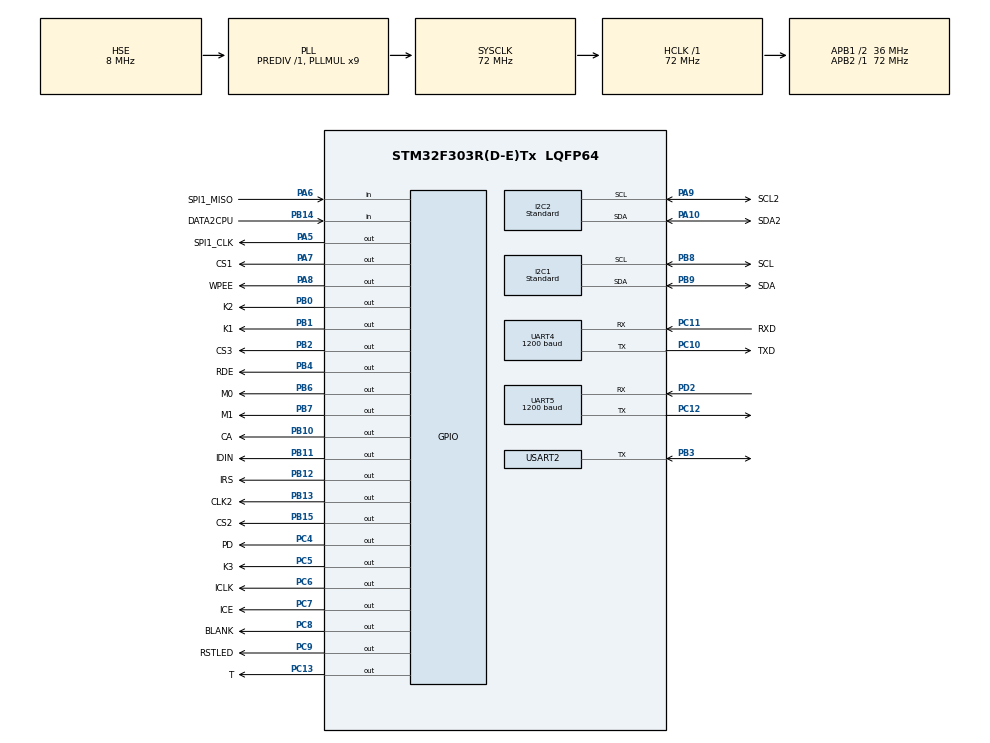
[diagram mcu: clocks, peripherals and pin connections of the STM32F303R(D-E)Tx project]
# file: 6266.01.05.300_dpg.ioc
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I2C1.Analog_Filter=I2C_ANALOGFILTER_ENABLE
I2C1.I2C_Fall_Time=15
I2C1.I2C_Rise_Time=15
I2C1.I2C_Speed_Mode=I2C_Standard
I2C1.Speed=100
I2C1.Timing=0x00201D2C
I2C2.Analog_Filter=I2C_ANALOGFILTER_DISABLE
I2C2.I2C_Coeff_DF=0
I2C2.I2C_Fall_Time=0
I2C2.I2C_Rise_Time=0
I2C2.I2C_Speed_Mode=I2C_Standard
I2C2.Speed=100
I2C2.Timing=0x00101D2D
IWDG.Prescaler=IWDG_PRESCALER_256
Mcu.Family=STM32F3
Mcu.Name=STM32F303R(D-E)Tx
Mcu.Package=LQFP64
NVIC.PriorityGroup=NVIC_PRIORITYGROUP_3
NVIC.TIM1_BRK_TIM15_IRQn=true\:0\:0\:false\:false\:true\:true\:true\:true
NVIC.TIM1_CC_IRQn=true\:0\:0\:false\:false\:true\:true\:true\:true
NVIC.TIM1_TRG_COM_TIM17_IRQn=true\:0\:0\:false\:false\:true\:true\:true\:true
NVIC.TIM1_UP_TIM16_IRQn=true\:0\:0\:false\:false\:true\:true\:true\:true
NVIC.TIM8_UP_IRQn=true\:0\:0\:false\:false\:true\:true\:true\:true
NVIC.UART4_IRQn=true\:1\:1\:true\:false\:true\:true\:true\:true
NVIC.UART5_IRQn=true\:0\:0\:false\:false\:true\:true\:true\:true
NVIC.USART2_IRQn=true\:0\:0\:false\:false\:true\:true\:true\:true
PA10.GPIO_Label=SDA2
PA10.GPIO_Pu=GPIO_PULLUP
PA10.Mode=I2C
PA10.Signal=I2C2_SDA
PA13.GPIO_Label=SWDIO
PA13.Mode=Serial_Wire
PA13.Signal=SYS_JTMS-SWDIO
PA14.GPIO_Label=SWCLK
PA14.Mode=Serial_Wire
PA14.Signal=SYS_JTCK-SWCLK
PA5.GPIO_Label=SPI1_CLK
PA5.PinState=GPIO_PIN_SET
PA5.Signal=GPIO_Output
PA6.GPIO_Label=SPI1_MISO
PA6.GPIO_PuPd=GPIO_PULLUP
PA6.Signal=GPIO_Input
PA7.GPIO_Label=CS1
PA7.PinState=GPIO_PIN_SET
PA7.Signal=GPIO_Output
PA8.GPIO_Label=WPEE
PA8.PinState=GPIO_PIN_RESET
PA8.Signal=GPIO_Output
PA9.GPIO_Label=SCL2
PA9.GPIO_Pu=GPIO_PULLUP
PA9.Mode=I2C
PA9.Signal=I2C2_SCL
PB0.GPIO_Label=K2
PB0.Signal=GPIO_Output
PB1.GPIO_Label=K1
PB1.Signal=GPIO_Output
PB10.GPIO_Label=CA
PB10.Signal=GPIO_Output
PB11.GPIO_Label=IDIN
PB11.Signal=GPIO_Output
PB12.GPIO_Label=IRS
PB12.PinState=GPIO_PIN_SET
PB12.Signal=GPIO_Output
PB13.GPIO_Label=CLK2
PB13.Signal=GPIO_Output
PB14.GPIO_Label=DATA2CPU
PB14.Signal=GPIO_Input
PB15.GPIO_Label=CS2
PB15.PinState=GPIO_PIN_SET
PB15.Signal=GPIO_Output
PB2.GPIO_Label=CS3
PB2.PinState=GPIO_PIN_SET
PB2.Signal=GPIO_Output
PB3.Mode=Half_duplex(single_wire_mode)
PB3.Signal=USART2_TX
PB4.GPIO_Label=RDE
PB4.Signal=GPIO_Output
PB6.GPIO_Label=M0
PB6.PinState=GPIO_PIN_SET
PB6.Signal=GPIO_Output
PB7.GPIO_Label=M1
PB7.Signal=GPIO_Output
PB8.GPIO_Label=SCL
PB8.GPIO_Pu=GPIO_PULLUP
PB8.Mode=I2C
PB8.Signal=I2C1_SCL
PB9.GPIO_Label=SDA
PB9.GPIO_Pu=GPIO_PULLUP
PB9.Mode=I2C
PB9.Signal=I2C1_SDA
PC10.GPIO_Label=TXD
PC10.Mode=Asynchronous
PC10.Signal=UART4_TX
PC11.GPIO_Label=RXD
PC11.Mode=Asynchronous
PC11.Signal=UART4_RX
PC12.Mode=Asynchronous
PC12.Signal=UART5_TX
PC13.GPIO_Label=T
PC13.Signal=GPIO_Output
PC4.GPIO_Label=PD
PC4.Signal=GPIO_Output
PC5.GPIO_Label=K3
PC5.Signal=GPIO_Output
PC6.GPIO_Label=ICLK
PC6.PinState=GPIO_PIN_SET
PC6.Signal=GPIO_Output
PC7.GPIO_Label=ICE
PC7.PinState=GPIO_PIN_SET
PC7.Signal=GPIO_Output
PC8.GPIO_Label=BLANK
PC8.Signal=GPIO_Output
PC9.GPIO_Label=RSTLED
PC9.Signal=GPIO_Output
PD2.Mode=Asynchronous
PD2.Signal=UART5_RX
PF0-OSC_IN.Mode=HSE-External-Oscillator
PF0-OSC_IN.Signal=RCC_OSC_IN
PF1-OSC_OUT.Mode=HSE-External-Oscillator
PF1-OSC_OUT.Signal=RCC_OSC_OUT
ProjectManager.HeapSize=0x2000
ProjectManager.StackSize=0x8000
ProjectManager.TargetToolchain=EWARM V8
RCC.AHBFreq_Value=72000000
RCC.APB1CLKDivider=RCC_HCLK_DIV2
RCC.APB1Freq_Value=36000000
RCC.APB1TimFreq_Value=72000000
RCC.APB2Freq_Value=72000000
RCC.APB2TimFreq_Value=72000000
RCC.CortexFreq_Value=72000000
RCC.HCLKFreq_Value=72000000
RCC.HSE_VALUE=8000000
RCC.HSI_VALUE=8000000
RCC.LSE_VALUE=32768
RCC.PLLMUL=RCC_PLL_MUL9
RCC.PLLSourceVirtual=RCC_PLLSOURCE_HSE
RCC.SYSCLKFreq_VALUE=72000000
RCC.SYSCLKSourceVirtual=RCC_SYSCLKSOURCE_PLLCLK
RCC.USBFreq_Value=72000000
TIM1.AutoReloadPreload=TIM_AUTORELOAD_PRELOAD_DISABLE
TIM1.Channel-Output\ Compare1\ No\ Output=TIM_CHANNEL_1
TIM1.Channel-PWM\ Generation2\ No\ Output=TIM_CHANNEL_2
TIM1.OC1Preload=DISABLE
TIM1.OC2Preload_PWM=DISABLE
TIM1.Period=1999
TIM1.Prescaler=35
TIM1.Pulse-Output\ Compare1\ No\ Output=0
TIM1.Pulse-PWM\ Generation2\ No\ Output=1000
TIM15.Period=9999
TIM15.Prescaler=7199
TIM15.RepetitionCounter=60
TIM8.CounterMode=TIM_COUNTERMODE_DOWN
TIM8.Period=9999
TIM8.Prescaler=7199
TIM8.RepetitionCounter=60
UART4.BaudRate=1200
UART5.BaudRate=1200
USART2.BaudRate=115200
USART2.VirtualMode-Half_duplex(single_wire_mode)=VM_ASYNC
VP_IWDG_VS_IWDG.Mode=IWDG_Activate
VP_TIM15_VS_ClockSourceINT.Mode=Internal
VP_TIM1_VS_ClockSourceINT.Mode=Internal
VP_TIM1_VS_no_output1.Mode=Output Compare1 No Output
VP_TIM1_VS_no_output2.Mode=PWM Generation2 No Output
VP_TIM8_VS_ClockSourceINT.Mode=Internal
board=custom

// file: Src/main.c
/* USER CODE BEGIN Header */
/**
  ******************************************************************************
  * @file           : main.c
  * @brief          : Main program body
  ******************************************************************************
  * @attention
  *
  * <h2><center>&copy; Copyright (c) 2020 STMicroelectronics.
  * All rights reserved.</center></h2>
  *
  * This software component is licensed by ST under BSD 3-Clause license,
  * the "License"; You may not use this file except in compliance with the
  * License. You may obtain a copy of the License at:
  *                        opensource.org/licenses/BSD-3-Clause
  *
  ******************************************************************************
  */
/* USER CODE END Header */
#include "main.h"
#include "i2c.h"
#include "iwdg.h"
#include "tim.h"
#include "usart.h"
#include "gpio.h"

/* USER CODE BEGIN Includes */
#include <vector>
#include <algorithm>
#include "push_pop.h"
#include "detector_weather.h"
#include "hcms.h"
#include "eeprom.h"
#include "lib.h"
#include "algorithm_contamination.h"
#include "approximation.h"
#include <iostream>
#include <stdio.h>
#include <fstream>
#include <numeric>
#include <stdio.h>
#include <math.h>
#include "OneWire.h"
#include "intrinsics.h"

/* USER CODE END Includes */

/* USER CODE BEGIN PD */
//#define MAX_PROC_COUNT   ((uint16_t)(52UL*240UL))
#define MAX_PROC_COUNT   ((uint16_t)(53UL*240UL))

//#define COUNT_MEASURES   (5280UL)

/* USER CODE END PD */

/* USER CODE BEGIN PV */
//static bool sEE_activated = false;

HAL_StatusTypeDef hstd;

uint8_t flag_profile = 0;
uint8_t             flag_out   = 0;
int help=0;

//static int16_t temperature;

struct proc_cntr___
{
  uint8_t proc_count_low;
  uint8_t proc_count_high;
};

struct proc_cntr___ p_cntr     = { (MAX_PROC_COUNT + 1) % 240, (MAX_PROC_COUNT + 1) / 240 };

uint64_t            xxxxPS0    = 0ULL,
xxxxPSFull = 0ULL;
uint32_t xxxxPS0msrs = 0ULL;
uint32_t xxxxPSFullmsrs = 0ULL;

volatile uint8_t    spi_cnt    = 11;
uint16_t   xcoeff     = 1;

volatile bool       dataready  = false;
volatile bool       light_on   = false;

volatile uint32_t   time__;
bool flag_console=0;
int16_t profile[COUNT_MEASURES];
uint64_t average_ps=0;
bool flag_temperature_error=0;

//#define DEBUG_TIMING
#ifndef DEBUG_TIMING
volatile bool       timeflag   = false;
#else
volatile bool       timeflag   = true;
#endif

bool aging_LED=0;
bool flag_Kp=0;

bool flag_t_eco=0;

bool flag_mor_eco=0;
bool flag_energy =0;

bool start_devise=0;

int n=50;

int speed=1200;
int word_length=8;
double   PS0x = 0.0;
uint32_t PL0x = 0, PG0x = 0;    //

uint8_t index_phenocode = 0x0;
uint8_t tim_for_ca = 300;

//extern float Temp[MAXDEVICES_ON_THE_BUS];

/* USER CODE END PV */

void SystemClock_Config(void);

/* USER CODE BEGIN 0 */

union rslt_                                                                 //SPI_STC_vect
{                                                                           //SPI_STC_vect
  uint8_t bts[4];                                                                //SPI_STC_vect
  uint32_t w;                                                                    //SPI_STC_vect
}
static rslt_un;                                                               //SPI_STC_vect

uint8_t rslt_bt;

uint32_t get_time(void)
{
  return time__;
}

void HAL_SPI_RxCpltCallback(/*SPI_HandleTypeDef*/void *hspi)
{
//  if (&hspi2 == hspi)
//  {
//    __no_operation();
//  }
  if (NULL == hspi)
  {
//    rcnt++;
//    if ( rcnt < 40 )
//    {
//      rbts[ rcnt ] = rslt_bt;
//      HAL_SPI_Receive_IT( &hspi1, &rslt_bt, 1 );
//    }
//    else
//      return;
    uint8_t i=0;
  start_case:
    switch (spi_cnt)
    {
//      case 0:
      /*CS2 = 0;*/
//        HAL_GPIO_WritePin( CS2_GPIO_Port, CS2_Pin, GPIO_PIN_RESET );                 // for PG0 & PGFull
      /*SPDR = 0;*/
//        HAL_SPI_Receive_IT( &hspi2, &rslt_bt, 1 );
//        rslt_un.w = 0UL;
//        break;
//      case 1:
//      case 4:
    case 8:
      rslt_un.bts[2] = rslt_bt;
      {
        rslt_bt = 0;
        for (uint8_t mask = 0x80; mask != 0; mask >>= 1)
        {
          HAL_GPIO_WritePin(SPI1_CLK_GPIO_Port, SPI1_CLK_Pin, GPIO_PIN_RESET);
             __no_operation();
            __no_operation();
            __no_operation();
            __no_operation();
            __no_operation();
            __no_operation();

          if (HAL_GPIO_ReadPin(SPI1_MISO_GPIO_Port, SPI1_MISO_Pin) == GPIO_PIN_SET)
          {
            rslt_bt |= mask;
          }
          HAL_GPIO_WritePin(SPI1_CLK_GPIO_Port, SPI1_CLK_Pin, GPIO_PIN_SET);
              __no_operation();
            __no_operation();
            __no_operation();
            __no_operation();
            __no_operation();
            __no_operation();
        }
        spi_cnt = 9;
        goto start_case;
      }
      /*SPDR = 0;*/
      //HAL_SPI_Receive_IT( &hspi1, &rslt_bt, 1 );   //for bts[1]
//        HAL_SPI_TransmitReceive_IT( &hspi1, ( uint8_t * )&zro_bt, &rslt_bt, 1 );
      break;
//      case 2:
//      case 5:
    case 9:
      rslt_un.bts[1] = rslt_bt;
      /*SPDR = 0;*/
      {
        rslt_bt = 0;
        for (uint8_t mask = 0x80; mask != 0; mask >>= 1)
        {
          HAL_GPIO_WritePin(SPI1_CLK_GPIO_Port, SPI1_CLK_Pin, GPIO_PIN_RESET);
              __no_operation();
            __no_operation();
            __no_operation();
            __no_operation();
            __no_operation();
            __no_operation();
          if (HAL_GPIO_ReadPin(SPI1_MISO_GPIO_Port, SPI1_MISO_Pin) == GPIO_PIN_SET)
          {
            rslt_bt |= mask;
          }
          HAL_GPIO_WritePin(SPI1_CLK_GPIO_Port, SPI1_CLK_Pin, GPIO_PIN_SET);
             __no_operation();
            __no_operation();
            __no_operation();
            __no_operation();
            __no_operation();
            __no_operation();
        }
        spi_cnt = 10;
        goto start_case;
      }
      //HAL_SPI_Receive_IT( &hspi1, &rslt_bt, 1 ); // for bts[0]
//        HAL_SPI_TransmitReceive_IT( &hspi1, ( uint8_t * )&zro_bt, &rslt_bt, 1 );
      break;
//      case 3:
      /*CS2 = 1;*/
//        HAL_GPIO_WritePin( CS2_GPIO_Port, CS2_Pin, GPIO_PIN_SET );                 // for PG0 & PGFull
      /*CS3 = 0;*/                         //for PL0   & PLFull
//        HAL_GPIO_WritePin( CS3_GPIO_Port, CS3_Pin, GPIO_PIN_RESET );                 // for PG0 & PGFull
//        rslt_un.bts[ 0 ] = rslt_bt & 0xf0;
      /*SPDR = 0;*/
//        HAL_SPI_Receive_IT( &hspi2, &rslt_bt, 1 );
//        if ( p_cntr.proc_count_high == 0 )
//          PG0__ += rslt_un.w;
//        else
//          PGFull += rslt_un.w;
//        rslt_un.w = 0UL;
//        break;
//      case 6:
      /*CS3 = 1;*/
//        HAL_GPIO_WritePin( CS3_GPIO_Port, CS3_Pin, GPIO_PIN_SET );                 // for PG0 & PGFull
//        rslt_un.bts[ 0 ] = rslt_bt & 0xf0;
//        if ( p_cntr.proc_count_high == 0 )
//          PL0__ += rslt_un.w;
//        else
//          PLFull += rslt_un.w;
//        rslt_un.w = 0UL;
//        break;
    case 7:
 //     HAL_GPIO_WritePin(SPI1_CLK_GPIO_Port, SPI1_CLK_Pin, GPIO_PIN_RESET);

       HAL_GPIO_WritePin(CS1_GPIO_Port, CS1_Pin, GPIO_PIN_RESET);
           __no_operation();
            __no_operation();
            __no_operation();
            __no_operation();
            __no_operation();
            __no_operation();
       rslt_un.w = 0;
       for (uint32_t mask = 0x80000; mask != 0; mask >>= 1)
       {
         HAL_GPIO_WritePin(SPI1_CLK_GPIO_Port, SPI1_CLK_Pin, GPIO_PIN_SET);
         for(i=0;i<1;i++) __no_operation();
         if (HAL_GPIO_ReadPin(SPI1_MISO_GPIO_Port, SPI1_MISO_Pin) == GPIO_PIN_SET)
         {
            rslt_un.w |= mask;
         }
        // for(i=0;i<1;i++) __no_operation();
         HAL_GPIO_WritePin(SPI1_CLK_GPIO_Port, SPI1_CLK_Pin, GPIO_PIN_RESET);
             __no_operation();
            __no_operation();
            __no_operation();
            __no_operation();
            __no_operation();
            __no_operation();
       }
       HAL_GPIO_WritePin(SPI1_CLK_GPIO_Port, SPI1_CLK_Pin, GPIO_PIN_SET);
       spi_cnt = 10;

      goto start_case;
      break;
    /*  HAL_GPIO_WritePin(CS1_GPIO_Port, CS1_Pin, GPIO_PIN_RESET);
      {
        rslt_un.w = 0;
        for (uint32_t mask = 0x800000; mask != 0; mask >>= 1)
        {
          __no_operation();
          HAL_GPIO_WritePin(SPI1_CLK_GPIO_Port, SPI1_CLK_Pin, GPIO_PIN_RESET);
          if (HAL_GPIO_ReadPin(SPI1_MISO_GPIO_Port, SPI1_MISO_Pin) == GPIO_PIN_SET)
          {
            rslt_un.w |= mask;
          }
          HAL_GPIO_WritePin(SPI1_CLK_GPIO_Port, SPI1_CLK_Pin, GPIO_PIN_SET);
          __no_operation();
        }
HAL_GPIO_WritePin(CS1_GPIO_Port, CS1_Pin, GPIO_PIN_SET);
        spi_cnt = 10;
      }
      goto start_case;
      break;*/
    case 10:
      {
        /*CS1 = 1;*/
        HAL_GPIO_WritePin(CS1_GPIO_Port, CS1_Pin, GPIO_PIN_SET);
      //  rslt_un.bts[0] = rslt_bt; //& 0xf0; // low four bits of third byte ADC ignored

         if(p_cntr.proc_count_high<=45)  // ((p_cntr.proc_count_high != 0)&& xxxxPSFullmsrs<10320)
        {
           xxxxPSFull += ((rslt_un.w ));//(rslt_un.w); ((rslt_un.w & 0xffff0ul) >> 4);
         // xxxxPSFull += (uint64_t)((rslt_un.w & 0xffff0ul) >> 4);
           xxxxPSFullmsrs++;

        }

        if ( (p_cntr.proc_count_high >= 8) &&
            (p_cntr.proc_count_high <= 45)
            // &&(xxxxPSFullmsrs < 9120)
              )
        {
           profile[(p_cntr.proc_count_high - 8) * 240 + p_cntr.proc_count_low] = ((rslt_un.w ));//((rslt_un.w )); //(uint16_t)(((rslt_un.w & 0xfffffff0))> 65534)? (65534):((rslt_un.w & 0xfffffff0));  /* */
        }
         if (p_cntr.proc_count_high >= 47)
        {

         xxxxPS0 += ((rslt_un.w ));// rslt_un.w;
        xxxxPS0msrs++;

          break;
        }
        else spi_cnt = 11;
        break;
      }
    case 11:
      return;
    }
    spi_cnt++;

  }
}
bool tim8_off=0;
bool calibration_low=0;
bool calibration_hight=0;
bool calibration_successful=0;

volatile uint32_t ccr2 = 0; //3000;
uint8_t c_t_8=0;
uint8_t c_t_15=0;
uint16_t c_t_24=0;

void stop_tim()
{
   huart4.RxXferCount = 256;
   huart5.RxXferCount = 256;
   c_t_15=0;
   if(!defrosting)
   {
     HAL_TIM_Base_Stop_IT(&htim15);
     c_t_24=0;
   }
   flag_console=0;
   HAL_UART_AbortReceive(&huart4);
   HAL_UART_AbortReceive(&huart5);
 // HAL_GPIO_WritePin(M0_GPIO_Port, M0_Pin, GPIO_PIN_SET);/*M0=0;*/
 // HAL_GPIO_WritePin(M1_GPIO_Port, M1_Pin, GPIO_PIN_RESET); /*M1=1;*/
 // HAL_GPIO_WritePin(RDE_GPIO_Port, RDE_Pin, GPIO_PIN_SET);
}

void HAL_TIM_PeriodElapsedCallback(TIM_HandleTypeDef *htim)
{
  if (htim == &htim8)
  {
 if (c_t_8>=13 && flag_out == 1) /**/
   /* if ((c_t_8>=5 && flag_profile == 1) || (c_t_8>=13 && flag_out == 1))*/
     {
        flag_out = 0;
        c_t_8=0;
        tim8_off=0;
        HAL_TIM_Base_Stop_IT(&htim8);
 //       NVIC_SystemReset();
     }
    /* if(c_t_8>=14)
     {
       if(calibration_hight==1 || calibration_low==1 )
       {
         c_t_8=0;
         tim8_off=0;
         HAL_TIM_Base_Stop_IT(&htim8);

         calibration_successful=calibration_hight = calibration_low = 0;
       }
     }*/
  else c_t_8++;
  }
   if (htim == &htim15)
  {
     if(flag_console)
     {
       if(c_t_15 >= 15 )
         stop_tim();
       else c_t_15++;
     }
     if (flag_heating && defrosting)
     {
        if(c_t_24>=1440)
        {
          c_t_24=0;
          stop_defrosting(flag_console);
        }
        else c_t_24++;
     }
  }

if (htim == &htim1)
  {
//    perel_cntr++;
    if (light_on)
    {
      /*CA = 0;*/     //light on -> 0 // above zones0 & 1
      HAL_GPIO_WritePin(CA_GPIO_Port, CA_Pin, GPIO_PIN_RESET);
    }
    static uint16_t x_proc_count;
    x_proc_count = ((((uint16_t)p_cntr.proc_count_high) * 240) + ((uint16_t)p_cntr.proc_count_low));
    if (
//      proc_count<MAX_PROC_COUNT
//     (p_cntr.proc_count_high < (MAX_PROC_COUNT/240))||
//     (p_cntr.proc_count_low < (MAX_PROC_COUNT % 240))
//(((( uint16_t )p_cntr.proc_count_high) * 240) + (( uint16_t )p_cntr.proc_count_low)) < MAX_PROC_COUNT
        x_proc_count < 12720 //12960 //13200 //// 13680 //13920// 12720
       )
    {

      ccr2 = htim1.Instance->CCR2 = 300;// tim_for_ca;
      HAL_TIM_PWM_Start_IT(&htim1, TIM_CHANNEL_2);

      switch (p_cntr.proc_count_high)
      {
      case 0x2:
      case 0x3:

//      k_img=4;// x4     k3=1 k2=0 k1=0

       HAL_GPIO_WritePin(K3_GPIO_Port, K3_Pin, GPIO_PIN_SET);

       HAL_GPIO_WritePin(K2_GPIO_Port, K2_Pin, GPIO_PIN_RESET);

       HAL_GPIO_WritePin(K1_GPIO_Port, K1_Pin, GPIO_PIN_RESET);
       xcoeff = 4;
        break;
      case 0x4:
      case 0x5:
//      k_img=5;// x40    k3=1 k2=0 k1=1

      HAL_GPIO_WritePin(K3_GPIO_Port, K3_Pin, GPIO_PIN_SET);

         HAL_GPIO_WritePin(K2_GPIO_Port, K2_Pin, GPIO_PIN_RESET);

         HAL_GPIO_WritePin(K1_GPIO_Port, K1_Pin, GPIO_PIN_SET);
         xcoeff = 40;
        break;
      case 0x6:
      case 0x7:
//      k_img=6;// x400   k3=1 k2=1 k1=0

        HAL_GPIO_WritePin(K3_GPIO_Port, K3_Pin, GPIO_PIN_SET);

        HAL_GPIO_WritePin(K2_GPIO_Port, K2_Pin, GPIO_PIN_SET);

        HAL_GPIO_WritePin(K1_GPIO_Port, K1_Pin, GPIO_PIN_RESET);
        xcoeff = 400;
        break;
      }
    }
    time__++;
    static uint32_t ytime;
    ytime = time__ % sending_period;
    if (ytime == 0x0)
    {
      __no_operation();

        timeflag = true;

    }
//
//  if (
//     (dataready==false)&&
//     (timeflag==false)&&
////     (proc_count==(MAX_PROC_COUNT+1))&&
//     (
//     (p_cntr.proc_count_high==((MAX_PROC_COUNT+1)/240))&&
//     (p_cntr.proc_count_low==((MAX_PROC_COUNT+1) % 240))
//     )&&
//     (obf.obd.bs.curr_state==OBUF_STATE_FREE)
//     )
//    timeflag=true;
#define OCF1A__ TIFR_Bit4
    ////
    ////*TIFR_*/OCF1A__ = 1; //preventive clear interrupt flag on
    ///ocr1a compare
  }
}

//#define TEN_PERCENT_LIMIT (((65536UL/10UL)*240UL)<<4)
#define TEN_PERCENT_LIMIT (65536ul/10ul)

//int c1600cntr=0,c300ex1600=0;
#ifdef DWTTM
struct dwttm__
{
  uint32_t cycnt;
  uint32_t evnt;
}evnts[64];
int evidx = 0;
#endif

void HAL_TIM_PWM_PulseFinishedCallback(TIM_HandleTypeDef *htim)
{
  if (htim == &htim1)
  {
    /*switch ( OCR1B )*/
    switch (/*htim1.Instance->CCR2*/ccr2)
    {
    case 300: //150 us
      if (
          (p_cntr.proc_count_high < 2) &&
          (p_cntr.proc_count_low < 240)
         )
      {
        //  spi_cnt = 0;
//      SPDR=0;    // start SPI_SEQUENCE from pos0 to pos6
        rslt_un.w = 0;
        //uint32_t w;
        //uint8_t  i;
        /*CLK2 = CS1 = CS2 = CS3 = 1;*/
//          HAL_GPIO_WritePin( CLK2_GPIO_Port, CLK2_Pin, GPIO_PIN_SET );
        HAL_GPIO_WritePin(CS1_GPIO_Port, CS1_Pin, GPIO_PIN_SET);
        HAL_GPIO_WritePin(CS2_GPIO_Port, CS2_Pin, GPIO_PIN_SET);
        HAL_GPIO_WritePin(CS3_GPIO_Port, CS3_Pin, GPIO_PIN_SET);
        //w = 0ul;
        //__delay_cycles( 6 );
        __no_operation();
        __no_operation();
        __no_operation();
        __no_operation();
        __no_operation();
        __no_operation();
        /*CS2 = 0;*/
        HAL_GPIO_WritePin(CS2_GPIO_Port, CS2_Pin, GPIO_PIN_RESET);
        for (int i = 0; i < 24; i++)
        {
          rslt_un.w <<= 1;
          /*if ( DATA2 != 0 )*/
          if (HAL_GPIO_ReadPin(DATA2CPU_GPIO_Port, DATA2CPU_Pin) != GPIO_PIN_RESET)
          {
            rslt_un.w |= 1ul;        //------------------------------------
          }
          /*CLK2 = 0;*/
          HAL_GPIO_WritePin(CLK2_GPIO_Port, CLK2_Pin, GPIO_PIN_RESET);
        __no_operation();
        __no_operation();
        __no_operation();
        __no_operation();
        __no_operation();
        __no_operation();
//          __delay_cycles(6);
          /*CLK2 = 1;*/
          HAL_GPIO_WritePin(CLK2_GPIO_Port, CLK2_Pin, GPIO_PIN_SET);
        }
        /*CS2 = 1;*/
//        HAL_SPI_Receive(&hspi2, rslt_un.bts, 3, 1)
        HAL_GPIO_WritePin(CS2_GPIO_Port, CS2_Pin, GPIO_PIN_SET);
//        rslt_bt = rslt_un.bts[0];
//        rslt_un.bts[0] = rslt_un.bts[2];
//        rslt_un.bts[2] = rslt_bt;
        if (p_cntr.proc_count_high == 0)
          pprs.PG0 += (rslt_un.w & 0xffff0) >> 4;
        else
          pprs.PGFull += (rslt_un.w & 0xffff0) >> 4;
        rslt_un.w = 0ul;
        //__delay_cycles( 6 );
        __no_operation();
        __no_operation();
        __no_operation();
        __no_operation();
        __no_operation();
        __no_operation();
        /*CS3 = 0;*/
        rslt_un.w = 0;
        HAL_GPIO_WritePin(CS3_GPIO_Port, CS3_Pin, GPIO_PIN_RESET);
        //HAL_SPI_Receive(&hspi2, rslt_un.bts, 3, 1);
//        HAL_GPIO_WritePin(CS2_GPIO_Port, CS3_Pin, GPIO_PIN_SET);
//        rslt_bt = rslt_un.bts[0];
//        rslt_un.bts[0] = rslt_un.bts[2];
//        rslt_un.bts[2] = rslt_bt;
        for (int i = 0; i < 24; i++)
        {
          rslt_un.w <<= 1;
          /*if ( DATA2 != 0 )*/
          if (HAL_GPIO_ReadPin(DATA2CPU_GPIO_Port, DATA2CPU_Pin) != GPIO_PIN_RESET)
          {
            rslt_un.w |= 1ul;        //--------------------------------------------
          }
          /*CLK2 = 0;*/
          HAL_GPIO_WritePin(CLK2_GPIO_Port, CLK2_Pin, GPIO_PIN_RESET);
        __no_operation();
        __no_operation();
        __no_operation();
        __no_operation();
        __no_operation();
        __no_operation();
//          __delay_cycles(6);
          /*CLK2 = 1;*/
          HAL_GPIO_WritePin(CLK2_GPIO_Port, CLK2_Pin, GPIO_PIN_SET);
        }
        /*CS3 = 1;*/
        HAL_GPIO_WritePin(CS3_GPIO_Port, CS3_Pin, GPIO_PIN_SET);
        if (p_cntr.proc_count_high == 0)
        {
          pprs.PL0 += (rslt_un.w & 0xffff0) >> 4;
          ccr2 = htim1.Instance->CCR2 = 1400;
        }
        else
        {
          pprs.PLFull += (rslt_un.w & 0xffff0) >> 4;
        /*OCR1B = 1600;*/ //for advance proc_count
        ccr2 = htim1.Instance->CCR2 = 1600;
        }

        __no_operation();
        break;

      }
      /*OCR1B = 600;*/
      ccr2 = htim1.Instance->CCR2 = 600;
      __no_operation();
      break;
    case  600: //300 uS
      //PD = 1; // PD_ON
      HAL_GPIO_WritePin(PD_GPIO_Port, PD_Pin, GPIO_PIN_SET);
      /*OCR1B = 1000;*/ //next event on 0,5ms
      ccr2 = htim1.Instance->CCR2 = 1000;
      __no_operation();
      break;
    case 1000: //500 uS
               //CA = 1;                 //laser off
     HAL_GPIO_WritePin(CA_GPIO_Port, CA_Pin, GPIO_PIN_SET);
      /*OCR1B = 1400;*/
      ccr2 = htim1.Instance->CCR2 = 1400;
      __no_operation();
      break;
    case 1400: //700 uS
      if (
          ((p_cntr.proc_count_high == 0) ||
           (p_cntr.proc_count_high == 3) ||
           (p_cntr.proc_count_high == 5) ||
           (
            (p_cntr.proc_count_high >= 7) &&
            (p_cntr.proc_count_high <= 53)
           )
          ) &&
          (p_cntr.proc_count_low < 240)
         )
      {
        spi_cnt = 7;
        //<><><><><><>SPDR = 0;    // start SPI_SEQUENCE from pos7 to pos10
        {
          rslt_bt = 0;
//          for (uint8_t mask = 0x80; mask != 0; mask >>= 1)
//          {
//            HAL_GPIO_WritePin(SPI1_CLK_GPIO_Port, SPI1_CLK_Pin, GPIO_PIN_RESET);
//            if (HAL_GPIO_ReadPin(SPI1_MISO_GPIO_Port, SPI1_MISO_Pin) == GPIO_PIN_SET)
//            {
//              rslt_bt |= mask;
//            }
//            HAL_GPIO_WritePin(SPI1_CLK_GPIO_Port, SPI1_CLK_Pin, GPIO_PIN_SET);
//          }
          HAL_SPI_RxCpltCallback(NULL);
        }
        // HAL_SPI_Receive_IT( &hspi1, &rslt_bt, 1 );
        //HAL_SPI_TransmitReceive_IT( &hspi1, ( uint8_t * )&zro_bt, &rslt_bt, 1 );

      }
      /*OCR1B = 1600;*/
      ccr2 = htim1.Instance->CCR2 = 1600;
      __no_operation();
      break;
    case 1600: //800 uS
               //PD = 0; //PORTA=k_img;//PD_OFF
      //HAL_GPIO_WritePin(CA_GPIO_Port, CA_Pin, GPIO_PIN_SET);
      p_cntr.proc_count_low++;
      HAL_GPIO_WritePin(PD_GPIO_Port, PD_Pin, GPIO_PIN_RESET);
//      proc_count++;

        if (p_cntr.proc_count_low == 240)
        {
          p_cntr.proc_count_low = 0;
          p_cntr.proc_count_high++;
        }

       if (p_cntr.proc_count_high == 7) __no_operation();
      if (p_cntr.proc_count_low == 0)
      { // goto apply
        if (
            (p_cntr.proc_count_high == 4) ||
            (p_cntr.proc_count_high == 6)
           )
        {
          if ((xxxxPSFull / /*240ul*/xxxxPSFullmsrs) >= TEN_PERCENT_LIMIT)
          {
            p_cntr.proc_count_low = 0;
            p_cntr.proc_count_high = 8;
          }
       //   xxxxPS0 = xxxxPSFull = xxxxPS0msrs = xxxxPSFullmsrs= 0ULL;
           xxxxPSFull = xxxxPSFullmsrs= 0ULL;
        }
      }

      if (
          (p_cntr.proc_count_low == (MAX_PROC_COUNT % 240)) &&
          (p_cntr.proc_count_high == (MAX_PROC_COUNT / 240))
         )
      {

        p_cntr.proc_count_low++;
        light_on = false;
        dataready = true;
      }
      else
      {
       if (
            (
             (p_cntr.proc_count_high >= 1) &&
             (p_cntr.proc_count_high <= 7)
            )
            ||
            (
              (p_cntr.proc_count_high >= 8)&&
             (p_cntr.proc_count_high <= 45) //&&
                                           //((p_cntr.proc_count_high & 1) == 0)
            )
           )
        {

          light_on = true;//reset
        /*  if(p_cntr.proc_count_high>=53)
            __no_operation();*/
        }
        else
        {
          light_on = false;//set
        }
      }
      /*OCR1B = 3000;*/ //never exist
      ccr2 = htim1.Instance->CCR2 = 0; //3000;
      __no_operation();
      break;
    default:
      break;
    }
//  DDRA=oldddra;
//  PORTA=oldporta;
#define OCF1B__ TIFR_Bit3
    /*TIFR_*/ //<><><><><><><><><> OCF1B__ = 1; //preventive clear interrupt flag on ocr1b compare
  }
}

#define MAX_STK_LVL (4)

/*double  PSstack[MAX_STK_LVL] = {NAN, NAN, NAN, NAN};

uint8_t stkidxPS   = 0;
uint8_t stk_lvlPS  = 0;*/

double  MORstack[MAX_STK_LVL] = {NAN, NAN, NAN, NAN};

uint8_t stkidxMOR  = 0;
uint8_t stk_lvlMOR = 0;

double  PS_0_stack[MAX_STK_LVL]  = {NAN, NAN, NAN, NAN};

uint8_t stkidxPS_0   = 0;
uint8_t stk_lvlPS_0  = 0;

double  vaisala_MORstack[10]  = {NAN, NAN, NAN, NAN, NAN, NAN, NAN, NAN, NAN, NAN};

uint8_t vaisala_stkidxMOR  = 0;
uint8_t vaisala_stk_lvlMOR = 0;

void uint32_t_to_segleds_with_dspoints(int32_t val, uint8_t sign, char mark)
{
  hcms_clear();

  char tmpbuf[7];
  if(sign != ' ')
    //output string for temperature
    sprintf(tmpbuf, "% +3d.%02d%c", val/1000, abs(val / 10) % 100, mark);
  else
    //for visibility
    sprintf(tmpbuf, "%2d.%03u", val/1000, val % 1000);

  hcms_putchars((char *)tmpbuf, 6);
  hcms_putbuf();
}

double termo_val = 18;
uint8_t xbuf[256];

double get_double_from_pkt(uint8_t *datebts)
{
  double retval = 0.0;

  sscanf((char const *)&datebts[1],"%10lg",&retval);
  return retval;
}

uint16_t calculating_the_checksum (uint8_t *buf, int index)
{
  uint16_t chk = 0;

  for (int i = 1; i < index; i++)
    chk += (uint16_t)buf[i];

  chk = (chk & 0xff) + ((chk >> 8) & 0xff);

  return chk;
}

void putpkt(uint8_t state, uint8_t mode, double val)
{
  uint8_t obuf [17];
  init_serv_obf(state, mode, obuf);
  uint16_t chk =  calculating_the_checksum (obuf, 14);

  obuf[14] = ((chk >> 4) & 0xf) + 0x40;
  obuf[15] = (chk & 0xf) + 0x40;
  HAL_UART_Transmit(&huart4, obuf, 17, 150);
  HAL_UART_Transmit(&huart5, obuf, 17, 150);

  HAL_Delay(25);
}

bool verification_checksum(int index)
{
  uint8_t chkhi;
  uint8_t chklo;
  uint16_t chk = calculating_the_checksum (ibuf, index);

  chk = (chk & 0xff) + ((chk >> 8) & 0xff);
  chkhi = ((chk >> 4) & 0xf) + 0x40;
  chklo = (chk & 0xf) + 0x40;
  if ((ibuf[index] == chkhi) && (ibuf[index+1] == chklo))
    return 1;
  else
    return 0;
}

void getpkt(void)
{
  HAL_GPIO_WritePin(RDE_GPIO_Port, RDE_Pin, GPIO_PIN_RESET);

  if ( u4rlen >=3) //if (ibuf_rdy)
  {

      if (verification_checksum(6))
      {
       if (ibuf[1]==0x43 && ibuf[2]==0x4C && ibuf[3]==0x4F && ibuf[4]==0x53)
         flag_out = 0;
      }
     u4rlen = 0;
     huart4.RxXferCount = 0x100;
     huart4.RxXferSize = 0x100;
     huart4.pRxBuffPtr = ibuf;
  }
}

int count_retry=0;
uint8_t lost_answers=0;
//uint8_t report[4]={0x01,0x00,0x06,0x0D};
void put_profile(uint8_t index, uint16_t  size_profile)
{
  static uint8_t buf_profile[265];
  uint16_t  i=0;
  uint16_t  j=5;
  uint16_t  size_package=0x105;//???

  uint16_t  buf_index=index*128; //???

  buf_profile[0] = 0x01;
  buf_profile[1] = ((size_profile-1)/128) - ((size_profile % 128 == 0)? (1) : (0));//0x50;

  buf_profile[2] = index;
  buf_profile[3] = 400/xcoeff;
  buf_profile[4] = 0x02;
  for ( j = 5; j < size_package;j+=2,buf_index+=1)
  {
    if ( buf_index <= size_profile )
    {
      buf_profile[j+1] = profile[ buf_index ];
      buf_profile[ j ] = profile[ buf_index ] >> 8 ;
    }
    else
      break;
  }

  buf_profile[ j ] = 0x03;

  uint16_t chk =  calculating_the_checksum (buf_profile, j);

  buf_profile[ j+1 ] = ((chk >> 4) & 0xf) + 0x40;
  buf_profile[ j+2 ] = (chk & 0xf) + 0x40;
  buf_profile[ j+3 ] = 0xd;
  oidx = 0;
    //M0=1;M1=0;T485_EN=1;//tx
//  HAL_GPIO_WritePin(M0_GPIO_Port, M0_Pin, GPIO_PIN_SET);
  /*M1=0;*/
//  HAL_GPIO_WritePin(M1_GPIO_Port, M1_Pin, GPIO_PIN_RESET);
  /*T485_EN=1;//tx */
  HAL_GPIO_WritePin(RDE_GPIO_Port, RDE_Pin, GPIO_PIN_SET);

  HAL_UART_Transmit( &huart4, buf_profile, j+4,110);
  HAL_UART_Transmit( &huart5, buf_profile, j+4,110);

 // HAL_Delay(20);           //rjvtyn
}
 uint8_t ibuf[256]={0,0,0,0,0,0,0,0,0,0,0,0,0,0,0,0,0,0,0,0};
 void mode_profile()
 {
  int size_profile=0;
  for ( int i = COUNT_MEASURES-1;  i >=0 ;i--)
  {
    if( profile[i]!=0x00)
    {
      size_profile=i;
      break;
    }
  }
  uint8_t index = 0;
  for ( int i = size_profile;  i > 0;)
  {

    HAL_GPIO_WritePin( RDE_GPIO_Port, RDE_Pin, GPIO_PIN_SET );
    put_profile( index, size_profile);
//    HAL_GPIO_WritePin( M0_GPIO_Port, M0_Pin, GPIO_PIN_RESET );
//    HAL_GPIO_WritePin( M1_GPIO_Port, M1_Pin, GPIO_PIN_SET );
    HAL_GPIO_WritePin( RDE_GPIO_Port, RDE_Pin, GPIO_PIN_RESET );
    huart4.RxXferCount = 0x100;
    huart4.RxXferSize = 0x100;
    huart4.pRxBuffPtr = ibuf;
    HAL_UART_Receive_IT( &huart4, ibuf, 4);

  //  HAL_UART_Receive( &huart5, report, 4, 70);

    if(ibuf[1]== 0x3f && ibuf[2]==0x3f)
    {
     NVIC_SystemReset();
    }
      if ( ibuf[ 2 ] == 0x05 )
      {

       if ( count_retry >= 2 )
       {

         count_retry=0;
         break;
       }
       count_retry += 1;
      }
      else
      {
        count_retry = 0;
        i -= 128;
        index += 1;
        HAL_Delay(1);
        if (ibuf[2] == 0x0) //the package was lost
       {
         if(tim8_off==0 && lost_answers>=120)
         {
           HAL_TIM_Base_Start_IT(&htim8);
           tim8_off=1;
         }
         lost_answers+=1;
       }
       else
       {
         if(ibuf[2]==0x06)
         lost_answers=0;
         if(tim8_off==1)
         {
           HAL_TIM_Base_Stop_IT(&htim8);
           tim8_off=0;
         }
       }

      }
    ibuf[2] = 0x06;
    HAL_Delay(70);

//    HAL_GPIO_WritePin( M0_GPIO_Port, M0_Pin, GPIO_PIN_SET );
//    HAL_GPIO_WritePin( M1_GPIO_Port, M1_Pin, GPIO_PIN_RESET );
//    HAL_GPIO_WritePin( RDE_GPIO_Port, RDE_Pin, GPIO_PIN_SET );
   }
}

//
/*void test_profile( FILE *file_profile, int  count_profile, int sym)            ////////test
{
  uint32_t numb1=0x01;
  uint32_t numb2=0x01;
  uint32_t numb3=0x01;
  uint32_t numb4=0x01;
  int time=0;

  char buffer1[1000];
  char* end;

  int count=0;
  for(int i=0; i<10560;i++)
     profile[i] = 0;

  int j=0;
  while (sym!=EOF)
  {
      fgets(buffer1,815, file_profile);
      if(buffer1[15-time]=='0' && buffer1[16-time]=='0' && count>0)
      {
          fseek (file_profile,-900,SEEK_CUR);
           fgets(buffer1,100, file_profile);
           break;
      }
      else
    {
    count++;

    int index=24-time;
    while(1)
    {

      numb1= strtol(&buffer1[index],&end,16);
      index+=3;
      numb2=strtol(&buffer1[index],&end,16);
      index+=3;

       if(numb1==0x03)
       {
         numb4 = strtol(&buffer1[index+3],&end,16);
         if(numb4==0x0D)
         {
           index+=6;
           break;
         }
       }
       profile[j]=(numb1<<8)+numb2;
       j++;
    }
     while(buffer1[index]!=0x0A)
     {
       if((buffer1[index])=='\0')
       {
          sym = fgetc (file_profile);
          break;
       }
       index+=1;
     }
  }
  }

  if(sym == EOF)
  {
    rewind(file_profile);
    count_profile=0;
    sym=0;
  }
  else
    count_profile++;
}*/////end test

/*struct Thresholds
{

  uint16_t Clearthreshold = 150;
 /* uint16_t Noisethreshold = 75;
  uint16_t Hazethreshold = 50;
  uint16_t Fogthreshold = 400;
  uint16_t Diffdrizzlethreshold=125;
  uint16_t Diffprecipitationthreshold=300;*/
/*   Thresholds(uint16_t b = 150, uint16_t=75)
        : Clearthreshold(b)
        { }

};

*/

/* USER CODE END 0 */

int main(void)
{

  /* MCU Configuration--------------------------------------------------------*/

  /* Reset of all peripherals, Initializes the Flash interface and the Systick. */
  HAL_Init();

  /* Configure the system clock */
  SystemClock_Config();

  /* Initialize all configured peripherals */
  MX_GPIO_Init();
  MX_I2C1_Init();
  MX_I2C2_Init();
  MX_UART4_Init();
  MX_TIM1_Init();
  MX_IWDG_Init();
  MX_TIM8_Init();
  MX_TIM15_Init();
  MX_USART2_UART_Init();
  MX_UART5_Init();
  /* USER CODE BEGIN 2 */
  hcms_init();
  hcms_clear();
  hcms_putchars((char *)"strt", 5);
  hcms_putbuf();
  //init_obf();
  termo_init();

//  do
//  {
//    for(int i=0 ;i<16;i++)
//      xbuf[i]=i;
//    sEE_Write(xbuf,0,16);
//  sEE_Read(xbuf,0,256);
//  }while(1);
//MyEeprom        eeprom;       // Eeprom-derived device driver
/*
#if ERASE_EEPROM
 eeprom.erase();
#endif

  NvStore         nvStore(eeprom, EeAddr(0), EeAddr(65535));      // EeAddr(1024), EeAddr(65535)      // storage layout manager
//Nv < Commands > commands( GET_STARTP_PROFILE, nvStore, "commands" );*/

  flag_unification =  read_in_mem("unification",(0),384);
  flag_cs =  read_in_mem("CS",(0),4672);

  pprs.CORR = read_in_mem("CORR_val",(-3.5),256);
  //Nv<sIGMA>    SIGMA(-3.14159265358979323, nvStore, "SIGMA");
  pprs.SIGMA = read_in_mem("SIGMA",(405000),320);

  //Nv <Scattering_coefficient> Scattering(1.0, nvStore, "Scattering");
 // thresholds.scattering_coefficient = read123("Scattering",(1.0),384);

  //Nv <Vaisala> vaisalaflag(0, nvStore, "vaisalaflag");
  int type_package= (int)read_in_mem("type",(0),1984);//384);
   flag_peleng = flag_vaisala =  flag_biral = flag_vaisala_fs= 0;
   if(type_package!=5 && !(type_package>9 && type_package<38))
     flag_peleng=1;
   if(type_package==5)
      flag_biral=1;
   if(type_package>9 && type_package<28)
   {
     ms_adr[0] = 'P'; ms_adr[1] = 'W';
     ms_adr[2] = ((rs_adr / 10) > 0) ? (rs_adr / 10 + '0') : (' ');
     ms_adr[3] = rs_adr % 10 + '0';
     message = type_package%10;
     flag_vaisala = 1;
     if(type_package>19)
       PWandFD=1;
   }
    if(type_package>30 && type_package<38)
    {
      ms_adr[0] = 'F'; ms_adr[1] = 'D';
      ms_adr[2] = ((rs_adr / 10) > 0) ? (rs_adr / 10 + '0') : (' ');
      ms_adr[3] = rs_adr % 10 + '0';
      message = 2;
      flag_vaisala_fs = 1;
    }

  //Nv <Clearthreshold> Clear(70, nvStore, "Clear");  //150
  thresholds.clear = read_in_mem("Clear",(65),640);
 // Nv <Noisethreshold> Noise(40, nvStore, "Noise");  //75
  thresholds.noise =  read_in_mem("Noise",(35),704);
 // Nv <Hazethreshold> Haze(30, nvStore, "Haze");
  thresholds.haze = read_in_mem("Haze",(25),768);
 // Nv <Fogthreshold> Fog(201, nvStore, "Fog");
  thresholds.fog = read_in_mem("Fog",(150),832);

 // Nv <Drizzlethreshold> Drizzle(64, nvStore, "Drizzle");//125
  thresholds.drizzle =  read_in_mem("Drizzle",(90),896);
//  Nv <Precipitationthreshold> Precipitation(160, nvStore, "Precipitation");
  thresholds.precipitation = read_in_mem("Precipitation",(200),960);

 // Nv <Limitcipitation> Limit(70, nvStore, "Limit");
  thresholds.limitcipitation = read_in_mem("Limit",(60),1024);
 // Nv <Sumlimit> Sumlim(250, nvStore, "Sumlim");
  thresholds.sumlimit =  read_in_mem("Sumlim",(450),1088);

  thresholds.slp = read_in_mem("SLP",(400),1152);
 // double PLref= 1;//read_in_mem("PLref",(1),1216);

  flag_energy = read_in_mem("energy",(0),1216) ;

  thresholds.limsnow = read_in_mem("limsnow",(1.6),1280);
  thresholds.minduration = read_in_mem("minduration",(4),1600);
  thresholds.minderivative = read_in_mem("minderivative",(200),1664) ;
  thresholds.clearp = read_in_mem("clearp",(0.5),1728);
  thresholds.l = 0.02;//read123("L",(0.02),1792);

  thresholds.flag_hail= read_in_mem("hail",(1),3136);
  thresholds.limspeedhail= read_in_mem("speed_hail",(15),3200);
  thresholds.mindurationhail= read_in_mem("duration_hail",(2),3264);

  pprs.scattering_coefficient = read_in_mem("Scattering",(1),2560);
  thresholds.t_corr = read_in_mem("t_corr",(-20),1408);
  thresholds.out_t_corr = read_in_mem("out_t_corr",(-3.5), 3776);
  //    double SIGMA = read123("SIGMA",(-3.14159265358979323),320);
  //    double CORR = read123("CORR_val",(-3.14159265358979323),256);
      double PM=0.1;

  pprs.PSoffset = read_in_mem("PSoffset", (0),3584);

  thresholds.termo = read_in_mem("Termo", (0),3712);

  read_pollution_parameters();
  read_approximation_parameters();

  //MX_UART4_Init();
  get_ROMid();
  get_Temperature();
  HAL_TIM_Base_Start_IT(&htim1);
  uint32_t tmeas_started_time = 0UL;

  termo_val=select_temperature();

  if(flag_error.temperature_outside==1 && flag_error.temperature_inside==1)
  {
    hcms_putchars("error", 5);
    hcms_putbuf();
  }
  else
  {
    if((thresholds.termo && !flag_error.temperature_outside)||
       (!thresholds.termo && flag_error.temperature_inside))
      uint32_t_to_segleds_with_dspoints(termo_val*1000, 0x2B,  0x6F);
    else
      uint32_t_to_segleds_with_dspoints(termo_val*1000, 0x2B,  0x69);
  }
  enter_heating(termo_val);

  HAL_GPIO_WritePin(RDE_GPIO_Port, RDE_Pin, GPIO_PIN_SET);
  HAL_Delay(20);
  first_putpkt();

  HAL_GPIO_WritePin( M0_GPIO_Port, M0_Pin, GPIO_PIN_SET );
  HAL_GPIO_WritePin( M1_GPIO_Port, M1_Pin, GPIO_PIN_RESET );
          /*M0=0;*/
//    HAL_GPIO_WritePin(M0_GPIO_Port, M0_Pin, GPIO_PIN_RESET);
          /*M1=1;*/
//    HAL_GPIO_WritePin(M1_GPIO_Port, M1_Pin, GPIO_PIN_SET);
          /*T485_EN=0;//rx */
  HAL_GPIO_WritePin(RDE_GPIO_Port, RDE_Pin, GPIO_PIN_RESET);

  p_cntr.proc_count_low = p_cntr.proc_count_high = 0;
 //test value
 // FILE *file_profile =  fopen("C:\\Profile.txt", "r");
 // if(flag_vaisala)
 // huart4.Init.BaudRate=9600;
 //test value

  /* USER CODE END 2 */

  /* Infinite loop */
  /* USER CODE BEGIN WHILE */
  while (1)
  {
    HAL_IWDG_Refresh(&hiwdg);
    /* USER CODE END WHILE */

    /* USER CODE BEGIN 3 */

    uint32_t send_val=0;

   /* if (((get_time() - tmeas_started_time) >= 1000UL) && ( //proc_count==(MAX_PROC_COUNT+1)
                                                           (p_cntr.proc_count_low == ((MAX_PROC_COUNT + 1) % 240)) &&
                                                           (p_cntr.proc_count_high == ((MAX_PROC_COUNT + 1) / 240))))
    {
        tmeas_started_time = get_time();
    }*/

    if (timeflag && (p_cntr.proc_count_high==53 && !dataready) )
    {

      pprs.PL0 = pprs.PG0 = xxxxPS0 =  pprs.PLFull = pprs.PGFull = xxxxPSFull = xxxxPS0msrs = xxxxPSFullmsrs= 0ULL;
      timeflag = false;

      hcms_clear();

      p_cntr.proc_count_low = p_cntr.proc_count_high = 0;
      termo_val = select_temperature();
      start_heating_according_to_temp(termo_val);
      if(flag_error.temperature_outside==1 && flag_error.temperature_inside==1)
        termo_val=18;

    }
    if ( dataready ) // check for ready of accumulated data
    {
      if ( flag_profile == 1 )
      {
        mode_profile();
      }
      if(flag_profile==0  )
     {
       pprs.PL = (( pprs.PLFull/*>>4*/) / 240UL);   //  make output values from accumulated data
       PL0x = ((pprs.PL0/*>>4*/) / 240UL);
       if ( pprs.PL < PL0x ) //check if is negative value
       {
         pprs.PL = PL0x;                //correct it
       //  flag_Kp=1;
     //    flag_pl=1;
       }
       pprs.PL = pprs.PL - PL0x;
    //   push(stk_lvlPL,4, stkidxPL, pprs.PL, PLstack );
       pprs.PG = ((pprs.PGFull/*>>4*/) / 240UL);
       PG0x = ((pprs.PG0/*>>4*/) / 240UL);
       if ( pprs.PG < PG0x )             // check if negative value
         pprs.PG = PG0x;                //correct  it
       pprs.PG = pprs.PG - PG0x;
       push(stk_lvlPG, 10, stkidxPG, pprs.PG, PG_stack);
       pprs.PS = (xxxxPSFull/*/16ULL)*/) / (( double )/*COUNT_MEASURES*/xxxxPSFullmsrs);
       // push(stk_lvlPSfull, 4, stkidxPSfull, pprs.PS, PSfull_stack );
       // pprs.PS = pop(stk_lvlPSfull, PSfull_stack);
       pprs.PS0 = ( double )(xxxxPS0) / (( double )xxxxPS0msrs);

      // push(stk_lvlPSfull, 4, stkidxPSfull, pprs.PS, PSfull_stack );
       push(stk_lvlPS_0, 4, stkidxPS_0, pprs.PS0, PS_0_stack );
       pprs.PS0 = pop(stk_lvlPS_0, PS_0_stack);

       pprs.PSmomentary =( double ) ( (400UL / xcoeff) *(pprs.PS - pprs.PS0));
       pprs.PSmomentary -= delta;

       if(flag_cs)
         pprs.PSmomentary *=pprs.scattering_coefficient;

        pprs.MORmomentary = calculate_visibility(pprs.PSmomentary);
    //    push(stk_lvlPS,4, stkidxPS, pprs.PSmomentary, PSstack );

        calibration_value.PSmsb = pprs.PSmomentary;
        termo_compensation();
        LED_deterioration();
        glass_contaminate();
        calibration_value.MORmsb = calculate_visibility(calibration_value.PSmsb);

/**********************************************************************************/

  if( pprs.MORmomentary > limit_visibility)
     pprs.MORmomentary = limit_visibility;
   if( pprs.MORmomentary >=0)
   push(stk_lvlMOR,4, stkidxMOR, pprs.MORmomentary, MORstack );

   uint32_t_to_segleds_with_dspoints( ( uint32_t )pprs.MORmomentary, 0x20, 0x20);

   pprs.MORstacked = pop(stk_lvlMOR, MORstack);
   if( pprs.MORstacked > limit_visibility)
     pprs.MORstacked=limit_visibility;

   if(stkidxMOR==3)
     push(vaisala_stk_lvlMOR,10, vaisala_stkidxMOR, pprs.MORstacked, vaisala_MORstack );
    send_val= pprs.MORstacked;

//  <<<<<<<<<<<<<<<<<<<<<<<<<<<<<<<<<<<<<<<<<<<<<<<<<<<<<<<<<<<

   index_phenocode=weather( pprs.MORstacked, termo_val);
     //  <<<<<<<<<<<<<<<<<<<<<<<<<<<<<<<<<<<<<<<<<<<<<<<<<<<<<<<<<<<
  } //end no profile

      if (flag_out == 0 && flag_profile==0 && flag_console==0 )
      {

        if (huart4.RxXferCount <= 253 || huart5.RxXferCount <= 253 ) //if (ibuf_rdy)
        {
          __HAL_UART_CLEAR_IDLEFLAG( &huart4 );
         __HAL_UART_ENABLE_IT( &huart4, UART_IT_IDLE );
         huart4.RxXferCount=256;
         huart5.RxXferCount=256;
         HAL_UART_AbortReceive(&huart4);
         HAL_UART_AbortReceive(&huart5);

          //checking crc
         if (verification_checksum(14))
          {
            if (ibuf[3] == 0x33)//mode=COMMAND //set mode
            {
                uint32_t MORinput = 0ul;

                for (uint16_t k = 1, j = 13; j > 4; k *= 10, j--)
                  if (ibuf[j] >= '0')
                    MORinput += (uint32_t)(ibuf[j] - '0') * (uint32_t)k;

                if (MORinput == 0x5a5a)
                {
                  HAL_UART_AbortReceive(&huart4);
                  HAL_UART_AbortReceive(&huart5);

                  flag_out = 1;
                  HAL_TIM_Base_Start_IT(&htim8);
                }

                if (MORinput == 0x5b5b )
                {
                  flag_profile = 1;
                   if ( huart4.Init.BaudRate != 57600 )
                   {
                     HAL_UART_DeInit( &huart4 );
                     HAL_UART_DeInit( &huart5 );
                     huart4.Init.BaudRate = 57600;
                     huart5.Init.BaudRate = 57600;
                     HAL_UART_Init( &huart4 );
                     HAL_UART_Init( &huart5 );
                   }
                    ibuf[1]= 0x00; ibuf[2] = 0x06;
                }
            }
          }
          hstd= HAL_UART_Receive_IT(&huart4, ibuf, 256);
          hstd= HAL_UART_Receive_IT(&huart5, ibuf, 256);
        }
       if (flag_out == 0 && flag_profile==0 && flag_console==0 )
         putpkt(send_val, ms_adr, index_phenocode); // send prepared buffer
     }

      else
      {

        delayed_recording();
        if(flag_out==1)
        {
           pprs.PS = (double) 400/xcoeff* pprs.PS;

          putpkt_debug(/*MORmsb,
                     PSmsb,
                     MORlsb,
                     PSlsb,
                     CORR_val,
                     SIGMA,
                     ((double)(400UL / xcoeff_)) * PS,
                     ((double)(400UL / xcoeff_)) * PS0x,
                     PSmomentary,
                     MORmomentary*/
                     &pprs
                    );
         getpkt();

        }
      }

      dataready = false;

    }

  }
  /* USER CODE END 3 */
}

void SystemClock_Config(void)
{
  RCC_OscInitTypeDef RCC_OscInitStruct = {0};
  RCC_ClkInitTypeDef RCC_ClkInitStruct = {0};
  RCC_PeriphCLKInitTypeDef PeriphClkInit = {0};

  /** Initializes the RCC Oscillators according to the specified parameters
  * in the RCC_OscInitTypeDef structure.
  */
  RCC_OscInitStruct.OscillatorType = RCC_OSCILLATORTYPE_HSI|RCC_OSCILLATORTYPE_LSI
                              |RCC_OSCILLATORTYPE_HSE;
  RCC_OscInitStruct.HSEState = RCC_HSE_ON;
  RCC_OscInitStruct.HSIState = RCC_HSI_ON;
  RCC_OscInitStruct.HSICalibrationValue = RCC_HSICALIBRATION_DEFAULT;
  RCC_OscInitStruct.LSIState = RCC_LSI_ON;
  RCC_OscInitStruct.PLL.PLLState = RCC_PLL_ON;
  RCC_OscInitStruct.PLL.PLLSource = RCC_PLLSOURCE_HSE;
  RCC_OscInitStruct.PLL.PLLMUL = RCC_PLL_MUL9;
  RCC_OscInitStruct.PLL.PREDIV = RCC_PREDIV_DIV1;
  if (HAL_RCC_OscConfig(&RCC_OscInitStruct) != HAL_OK)
  {
    Error_Handler();
  }

  /** Initializes the CPU, AHB and APB buses clocks
  */
  RCC_ClkInitStruct.ClockType = RCC_CLOCKTYPE_HCLK|RCC_CLOCKTYPE_SYSCLK
                              |RCC_CLOCKTYPE_PCLK1|RCC_CLOCKTYPE_PCLK2;
  RCC_ClkInitStruct.SYSCLKSource = RCC_SYSCLKSOURCE_PLLCLK;
  RCC_ClkInitStruct.AHBCLKDivider = RCC_SYSCLK_DIV1;
  RCC_ClkInitStruct.APB1CLKDivider = RCC_HCLK_DIV2;
  RCC_ClkInitStruct.APB2CLKDivider = RCC_HCLK_DIV1;

  if (HAL_RCC_ClockConfig(&RCC_ClkInitStruct, FLASH_LATENCY_2) != HAL_OK)
  {
    Error_Handler();
  }
  PeriphClkInit.PeriphClockSelection = RCC_PERIPHCLK_USART2|RCC_PERIPHCLK_UART4
                              |RCC_PERIPHCLK_UART5|RCC_PERIPHCLK_I2C1
                              |RCC_PERIPHCLK_I2C2|RCC_PERIPHCLK_TIM1
                              |RCC_PERIPHCLK_TIM15|RCC_PERIPHCLK_TIM8;
  PeriphClkInit.Usart2ClockSelection = RCC_USART2CLKSOURCE_PCLK1;
  PeriphClkInit.Uart4ClockSelection = RCC_UART4CLKSOURCE_PCLK1;
  PeriphClkInit.Uart5ClockSelection = RCC_UART5CLKSOURCE_PCLK1;
  PeriphClkInit.I2c1ClockSelection = RCC_I2C1CLKSOURCE_HSI;
  PeriphClkInit.I2c2ClockSelection = RCC_I2C2CLKSOURCE_HSI;
  PeriphClkInit.Tim1ClockSelection = RCC_TIM1CLK_HCLK;
  PeriphClkInit.Tim15ClockSelection = RCC_TIM15CLK_HCLK;
  PeriphClkInit.Tim8ClockSelection = RCC_TIM8CLK_HCLK;
  if (HAL_RCCEx_PeriphCLKConfig(&PeriphClkInit) != HAL_OK)
  {
    Error_Handler();
  }
}

void Error_Handler(void)
{
}
